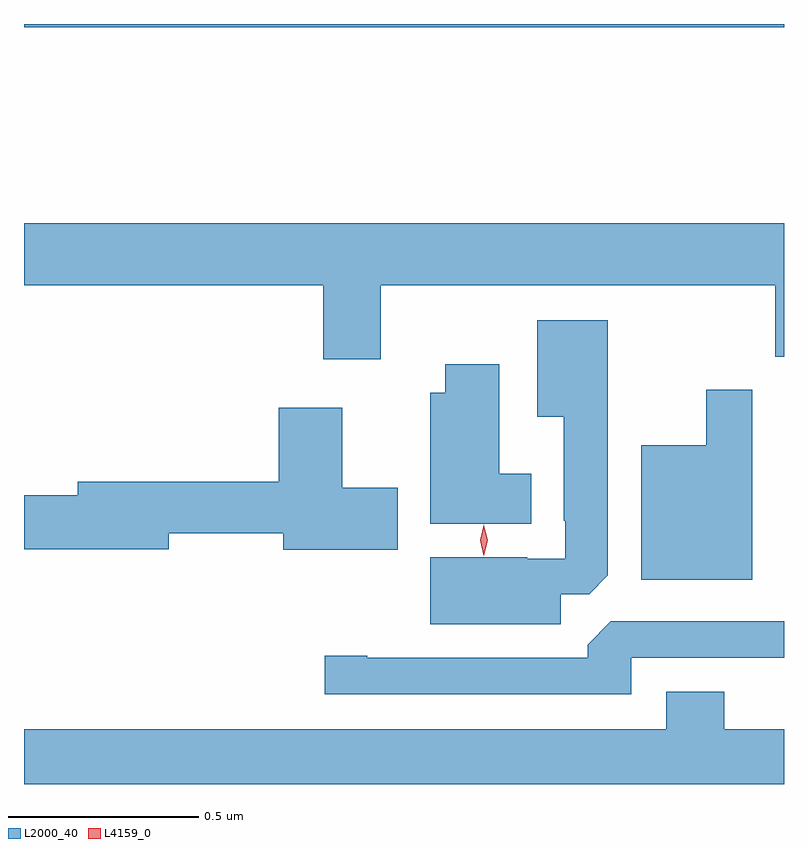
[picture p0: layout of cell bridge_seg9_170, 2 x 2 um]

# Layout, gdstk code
import gdstk
lib = gdstk.Library(unit=1e-6, precision=1e-09)
def R(c, l, rs):  # rectangles x0, y0, x1, y1
    for r in rs: c.add(gdstk.rectangle(r[:2], r[2:], *l))
def P(c, l, *ps):  # polygons
    for p in ps: c.add(gdstk.Polygon(p, *l))
L2000_40 = (2000, 40)
L4159_0 = (4159, 0)

bridge_seg9_170 = lib.new_cell('bridge_seg9_170')
R(bridge_seg9_170, L2000_40, [(216.181,1242.388,218.181,1242.396)])
P(bridge_seg9_170, L2000_40, [(217.12,1241.708),(218.158,1241.708),(218.158,1241.521),(218.181,1241.521),(218.181,1241.872),(216.181,1241.872),(216.181,1241.708),(216.968,1241.708),(216.968,1241.514),(217.12,1241.514)],
  [(217.594,1240.896),(217.668,1240.896),(217.717,1240.945),(217.717,1241.617),(217.532,1241.617),(217.532,1241.363),(217.601,1241.363),(217.601,1241.089),(217.605,1241.089),(217.605,1240.989),(217.505,1240.989),(217.505,1240.993),(217.25,1240.993),(217.25,1240.817),(217.594,1240.817)],
  [(217.516,1241.212),(217.432,1241.212),(217.432,1241.5),(217.289,1241.5),(217.289,1241.425),(217.25,1241.425),(217.25,1241.081),(217.516,1241.081)],
  [(218.098,1241.434),(217.976,1241.434),(217.976,1241.287),(217.805,1241.287),(217.805,1240.934),(218.098,1240.934)],
  [(217.165,1241.175),(217.018,1241.175),(217.018,1241.386),(216.851,1241.386),(216.851,1241.192),(216.323,1241.192),(216.323,1241.156),(216.181,1241.156),(216.181,1241.014),(216.562,1241.014),(216.562,1241.056),(216.863,1241.056),(216.863,1241.012),(217.165,1241.012)],
  [(217.779,1240.728),(218.181,1240.728),(218.181,1240.824),(217.725,1240.824),(217.664,1240.762),(217.664,1240.728),(217.084,1240.728),(217.084,1240.733),(216.972,1240.733),(216.972,1240.632),(217.779,1240.632)],
  [(218.181,1240.54),(218.024,1240.54),(218.024,1240.639),(217.871,1240.639),(217.871,1240.54),(216.181,1240.54),(216.181,1240.396),(218.181,1240.396)])
P(bridge_seg9_170, L4159_0, [(217.391,1240.997),(217.391,1240.997),(217.381,1241.037),(217.391,1241.077),(217.391,1241.078),(217.391,1241.077),(217.401,1241.037),(217.391,1240.997)])

lib.write_gds('bridge_seg9_170.gds')
